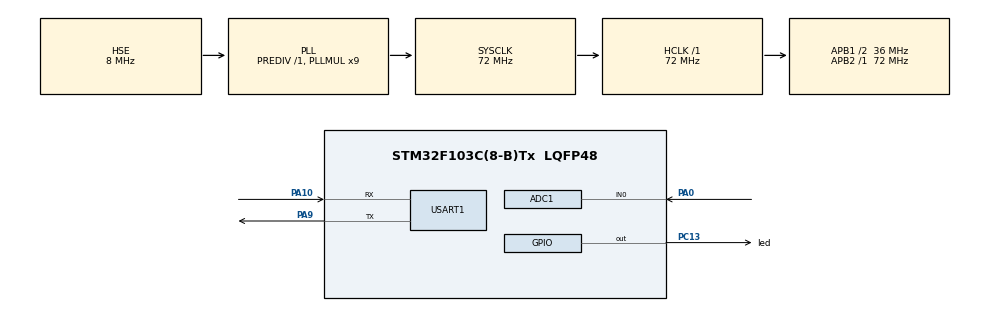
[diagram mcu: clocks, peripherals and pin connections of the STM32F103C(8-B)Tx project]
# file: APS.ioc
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ADC1.Channel-0\#ChannelRegularConversion=ADC_CHANNEL_0
ADC1.NbrOfConversionFlag=1
ADC1.Rank-0\#ChannelRegularConversion=1
ADC1.SamplingTime-0\#ChannelRegularConversion=ADC_SAMPLETIME_1CYCLE_5
ADC1.master=1
Mcu.Family=STM32F1
Mcu.Name=STM32F103C(8-B)Tx
Mcu.Package=LQFP48
NVIC.PriorityGroup=NVIC_PRIORITYGROUP_4
PA0-WKUP.Signal=ADCx_IN0
PA10.Mode=Asynchronous
PA10.Signal=USART1_RX
PA13.Mode=Serial_Wire
PA13.Signal=SYS_JTMS-SWDIO
PA14.Mode=Serial_Wire
PA14.Signal=SYS_JTCK-SWCLK
PA9.Mode=Asynchronous
PA9.Signal=USART1_TX
PC13-TAMPER-RTC.GPIO_Label=led
PC13-TAMPER-RTC.Signal=GPIO_Output
PC14-OSC32_IN.Mode=LSE-External-Oscillator
PC14-OSC32_IN.Signal=RCC_OSC32_IN
PC15-OSC32_OUT.Mode=LSE-External-Oscillator
PC15-OSC32_OUT.Signal=RCC_OSC32_OUT
PD0-OSC_IN.Mode=HSE-External-Oscillator
PD0-OSC_IN.Signal=RCC_OSC_IN
PD1-OSC_OUT.Mode=HSE-External-Oscillator
PD1-OSC_OUT.Signal=RCC_OSC_OUT
ProjectManager.HeapSize=0x200
ProjectManager.StackSize=0x400
ProjectManager.TargetToolchain=STM32CubeIDE
RCC.ADCPresc=RCC_ADCPCLK2_DIV8
RCC.AHBFreq_Value=72000000
RCC.APB1CLKDivider=RCC_HCLK_DIV2
RCC.APB1Freq_Value=36000000
RCC.APB1TimFreq_Value=72000000
RCC.APB2Freq_Value=72000000
RCC.APB2TimFreq_Value=72000000
RCC.HCLKFreq_Value=72000000
RCC.PLLMUL=RCC_PLL_MUL9
RCC.PLLSourceVirtual=RCC_PLLSOURCE_HSE
RCC.SYSCLKFreq_VALUE=72000000
RCC.SYSCLKSource=RCC_SYSCLKSOURCE_PLLCLK
RCC.USBFreq_Value=72000000
SH.ADCx_IN0.0=ADC1_IN0,IN0
USART1.VirtualMode=VM_ASYNC
board=custom

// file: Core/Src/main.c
/* USER CODE BEGIN Header */
/**
  ******************************************************************************
  * @file           : main.c
  * @brief          : Main program body
  ******************************************************************************
  * @attention
  *
  * Copyright (c) 2026 STMicroelectronics.
  * All rights reserved.
  *
  * This software is licensed under terms that can be found in the LICENSE file
  * in the root directory of this software component.
  * If no LICENSE file comes with this software, it is provided AS-IS.
  *
  ******************************************************************************
  */
/* USER CODE END Header */
#include "main.h"
#include "adc.h"
#include "usart.h"
#include "gpio.h"

/* USER CODE BEGIN Includes */
#include <stdio.h>
#include <string.h>
/* USER CODE END Includes */

/* USER CODE BEGIN PV */
#define ADC_MAX_VALUE      4095.0f
#define STM32_VREF         3.3f

// Eğer voltaj bölücü kullanıyorsan:
// SEN0257 Signal --- R1 --- ADC --- R2 --- GND
// R1 = 10k, R2 = 20k ise çarpan 1.5 olur.
#define VOLTAGE_DIVIDER_RATIO  1.5f

#define SENSOR_ZERO_VOLTAGE    0.5f
#define SENSOR_SCALE_MPA       0.4f

// Senin açık havada/yüzeyde okuduğun değer yaklaşık 0.75 V idi.
// Denizaltı derinlik hesabında yüzeyi 0 kabul etmek için bunu kullanacağız.
#define SURFACE_VOLTAGE        0.75f

char uart_buffer[128];

/* USER CODE END PV */

void SystemClock_Config(void);

/* USER CODE BEGIN 0 */
int __io_putchar(int ch)
{
    HAL_UART_Transmit(&huart1, (uint8_t *)&ch, 1, HAL_MAX_DELAY);
    return ch;
}

uint32_t Read_ADC_Raw(void)
{
    HAL_ADC_Start(&hadc1);
    HAL_ADC_PollForConversion(&hadc1, HAL_MAX_DELAY);
    uint32_t raw = HAL_ADC_GetValue(&hadc1);
    HAL_ADC_Stop(&hadc1);

    return raw;
}

float ADC_To_Voltage(uint32_t adc_raw)
{
    float adc_voltage = ((float)adc_raw * STM32_VREF) / ADC_MAX_VALUE;

    // Voltaj bölücüden dolayı gerçek sensör çıkış voltajını geri hesaplıyoruz
    float sensor_voltage = adc_voltage * VOLTAGE_DIVIDER_RATIO;

    return sensor_voltage;
}

float SEN0257_Voltage_To_MPa(float voltage)
{
    float pressure_mpa = (voltage - SENSOR_ZERO_VOLTAGE) * SENSOR_SCALE_MPA;

    if (pressure_mpa < 0.0f)
        pressure_mpa = 0.0f;

    return pressure_mpa;
}

float SEN0257_Voltage_To_Bar(float voltage)
{
    float pressure_mpa = SEN0257_Voltage_To_MPa(voltage);
    float pressure_bar = pressure_mpa * 10.0f;

    return pressure_bar;
}

float SEN0257_Depth_From_Surface(float voltage)
{
    // Yüzeydeki voltajı 0 metre kabul ediyoruz.
    float pressure_bar = 4.0f * (voltage - SURFACE_VOLTAGE);

    if (pressure_bar < 0.0f)
        pressure_bar = 0.0f;

    // Yaklaşık hesap:
    // Tatlı suda 1 bar ≈ 10.2 metre
    float depth_meter = pressure_bar * 10.2f;

    return depth_meter;
}
/* USER CODE END 0 */

int main(void)
{

  /* MCU Configuration--------------------------------------------------------*/

  /* Reset of all peripherals, Initializes the Flash interface and the Systick. */
  HAL_Init();

  /* Configure the system clock */
  SystemClock_Config();

  /* Initialize all configured peripherals */
  MX_GPIO_Init();
  MX_ADC1_Init();
  MX_USART1_UART_Init();

  /* Infinite loop */
  while (1)
  {

    /* USER CODE BEGIN 3 */

	    uint32_t adc_raw = Read_ADC_Raw();

	    float voltage = ADC_To_Voltage(adc_raw);

	    float pressure_mpa = SEN0257_Voltage_To_MPa(voltage);
	    float pressure_bar = pressure_mpa * 10.0f;

	    float depth_meter = SEN0257_Depth_From_Surface(voltage);

	    printf("ADC: %lu | V: %.2f V | P: %.2f MPa | %.2f bar | Depth: %.2f m\r\n",
	           adc_raw,
	           voltage,
	           pressure_mpa,
	           pressure_bar,
	           depth_meter);

	    HAL_Delay(500);

  }
  /* USER CODE END 3 */
}

void SystemClock_Config(void)
{
  RCC_OscInitTypeDef RCC_OscInitStruct = {0};
  RCC_ClkInitTypeDef RCC_ClkInitStruct = {0};
  RCC_PeriphCLKInitTypeDef PeriphClkInit = {0};

  /** Initializes the RCC Oscillators according to the specified parameters
  * in the RCC_OscInitTypeDef structure.
  */
  RCC_OscInitStruct.OscillatorType = RCC_OSCILLATORTYPE_HSE;
  RCC_OscInitStruct.HSEState = RCC_HSE_ON;
  RCC_OscInitStruct.HSEPredivValue = RCC_HSE_PREDIV_DIV1;
  RCC_OscInitStruct.HSIState = RCC_HSI_ON;
  RCC_OscInitStruct.PLL.PLLState = RCC_PLL_ON;
  RCC_OscInitStruct.PLL.PLLSource = RCC_PLLSOURCE_HSE;
  RCC_OscInitStruct.PLL.PLLMUL = RCC_PLL_MUL9;
  if (HAL_RCC_OscConfig(&RCC_OscInitStruct) != HAL_OK)
  {
    Error_Handler();
  }

  /** Initializes the CPU, AHB and APB buses clocks
  */
  RCC_ClkInitStruct.ClockType = RCC_CLOCKTYPE_HCLK|RCC_CLOCKTYPE_SYSCLK
                              |RCC_CLOCKTYPE_PCLK1|RCC_CLOCKTYPE_PCLK2;
  RCC_ClkInitStruct.SYSCLKSource = RCC_SYSCLKSOURCE_PLLCLK;
  RCC_ClkInitStruct.AHBCLKDivider = RCC_SYSCLK_DIV1;
  RCC_ClkInitStruct.APB1CLKDivider = RCC_HCLK_DIV2;
  RCC_ClkInitStruct.APB2CLKDivider = RCC_HCLK_DIV1;

  if (HAL_RCC_ClockConfig(&RCC_ClkInitStruct, FLASH_LATENCY_2) != HAL_OK)
  {
    Error_Handler();
  }
  PeriphClkInit.PeriphClockSelection = RCC_PERIPHCLK_ADC;
  PeriphClkInit.AdcClockSelection = RCC_ADCPCLK2_DIV8;
  if (HAL_RCCEx_PeriphCLKConfig(&PeriphClkInit) != HAL_OK)
  {
    Error_Handler();
  }
}

void Error_Handler(void)
{
  __disable_irq();
  while (1)
  {
  }
}
